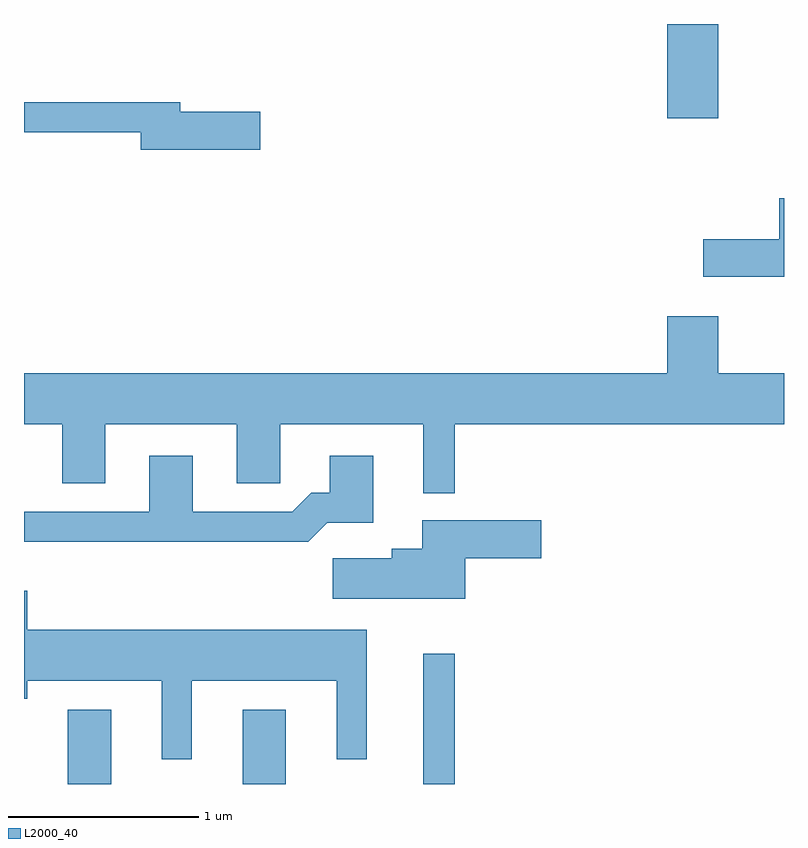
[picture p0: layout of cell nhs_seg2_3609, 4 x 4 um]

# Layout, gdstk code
import gdstk
lib = gdstk.Library(unit=1e-6, precision=1e-09)
def R(c, l, rs):  # rectangles x0, y0, x1, y1
    for r in rs: c.add(gdstk.rectangle(r[:2], r[2:], *l))
def P(c, l, *ps):  # polygons
    for p in ps: c.add(gdstk.Polygon(p, *l))
L2000_40 = (2000, 40)

nhs_seg2_3609 = lib.new_cell('nhs_seg2_3609')
R(nhs_seg2_3609, L2000_40, [(291.841,999.802,292.069,1000.194), (292.761,999.802,292.989,1000.194), (293.711,999.802,293.879,1000.488), (294.996,1003.306,295.264,1003.802)])
P(nhs_seg2_3609, L2000_40, [(292.854,1003.339),(292.434,1003.339),(292.434,1003.389),(291.611,1003.389),(291.611,1003.231),(292.226,1003.231),(292.226,1003.141),(292.854,1003.141)],
  [(295.611,1002.884),(295.586,1002.884),(295.586,1002.669),(295.186,1002.669),(295.186,1002.471),(295.611,1002.471)],
  [(293.879,1001.696),(295.611,1001.696),(295.611,1001.964),(295.264,1001.964),(295.264,1002.264),(294.996,1002.264),(294.996,1001.964),(291.611,1001.964),(291.611,1001.696),(291.811,1001.696),(291.811,1001.386),(292.039,1001.386),(292.039,1001.696),(292.731,1001.696),(292.731,1001.386),(292.959,1001.386),(292.959,1001.696),(293.711,1001.696),(293.711,1001.333),(293.879,1001.333)],
  [(293.207,1001.176),(293.449,1001.176),(293.449,1001.529),(293.221,1001.529),(293.221,1001.334),(293.124,1001.334),(293.024,1001.234),(292.499,1001.234),(292.499,1001.529),(292.271,1001.529),(292.271,1001.234),(291.611,1001.234),(291.611,1001.076),(293.107,1001.076)],
  [(293.934,1000.991),(294.334,1000.991),(294.334,1001.189),(293.706,1001.189),(293.706,1001.039),(293.546,1001.039),(293.546,1000.989),(293.236,1000.989),(293.236,1000.776),(293.934,1000.776)],
  [(292.494,1000.346),(293.256,1000.346),(293.256,999.933),(293.414,999.933),(293.414,1000.614),(291.629,1000.614),(291.629,1000.819),(291.611,1000.819),(291.611,1000.251),(291.629,1000.251),(291.629,1000.346),(292.336,1000.346),(292.336,999.933),(292.494,999.933)])

lib.write_gds('nhs_seg2_3609.gds')
